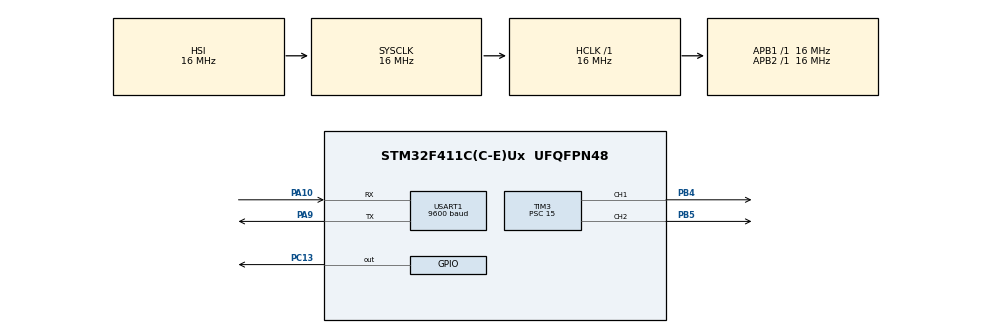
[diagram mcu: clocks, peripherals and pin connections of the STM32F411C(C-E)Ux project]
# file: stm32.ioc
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Mcu.Family=STM32F4
Mcu.Name=STM32F411C(C-E)Ux
Mcu.Package=UFQFPN48
NVIC.PriorityGroup=NVIC_PRIORITYGROUP_4
PA10.Mode=Asynchronous
PA10.Signal=USART1_RX
PA13.Mode=Serial_Wire
PA13.Signal=SYS_JTMS-SWDIO
PA14.Mode=Serial_Wire
PA14.Signal=SYS_JTCK-SWCLK
PA9.Mode=Asynchronous
PA9.Signal=USART1_TX
PB4.Signal=S_TIM3_CH1
PB5.Signal=S_TIM3_CH2
PC13-ANTI_TAMP.Signal=GPIO_Output
ProjectManager.HeapSize=0x200
ProjectManager.StackSize=0x400
ProjectManager.TargetToolchain=STM32CubeIDE
RCC.AHBFreq_Value=16000000
RCC.APB1Freq_Value=16000000
RCC.APB2Freq_Value=16000000
RCC.CortexFreq_Value=16000000
RCC.HSE_VALUE=25000000
RCC.HSI_VALUE=16000000
RCC.LSE_VALUE=32768
RCC.SYSCLKFreq_VALUE=16000000
RCC.VCOOutputFreq_Value=192000000
SH.S_TIM3_CH1.0=TIM3_CH1,PWM Generation1 CH1
SH.S_TIM3_CH2.0=TIM3_CH2,PWM Generation2 CH2
TIM3.Channel-PWM\ Generation1\ CH1=TIM_CHANNEL_1
TIM3.Channel-PWM\ Generation2\ CH2=TIM_CHANNEL_2
TIM3.Period=19999
TIM3.Prescaler=15
TIM3.Pulse-PWM\ Generation1\ CH1=1500
USART1.BaudRate=9600
USART1.VirtualMode=VM_ASYNC
VP_TIM3_VS_ClockSourceINT.Mode=Internal
board=custom

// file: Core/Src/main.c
/* USER CODE BEGIN Header */
/**
  ******************************************************************************
  * @file           : main.c
  * @brief          : Main program body
  ******************************************************************************
  * @attention
  *
  * Copyright (c) 2026 STMicroelectronics.
  * All rights reserved.
  *
  * This software is licensed under terms that can be found in the LICENSE file
  * in the root directory of this software component.
  * If no LICENSE file comes with this software, it is provided AS-IS.
  *
  ******************************************************************************
  */
/* USER CODE END Header */
#include "main.h"

/* USER CODE BEGIN Includes */
#include <stdio.h>
#include "frame_rx.h"
#include "servo.h"
/* USER CODE END Includes */

/* USER CODE BEGIN PD */
#define MAX_PWM 2000
#define MIN_PWM 1000
/* USER CODE END PD */

TIM_HandleTypeDef htim3;

UART_HandleTypeDef huart1;

/* USER CODE BEGIN PV */
ForwardFrame f;

uint32_t valid_frame_count = 0;

volatile uint32_t servo_pan = 1500;
volatile uint32_t servo_tilt = 1500;
/* USER CODE END PV */

void SystemClock_Config(void);
static void MX_GPIO_Init(void);
static void MX_USART1_UART_Init(void);
static void MX_TIM3_Init(void);

/* USER CODE BEGIN 0 */
bool clamp_limits (uint32_t servo_command) {
	if (servo_command < MAX_PWM && servo_command > MIN_PWM) {
		return true;
	}
	return false;
}
/* USER CODE END 0 */

int main(void)
{

  /* USER CODE BEGIN 1 */
	uint8_t byte;
	uint32_t count = 0;
  /* USER CODE END 1 */

  /* MCU Configuration--------------------------------------------------------*/

  /* Reset of all peripherals, Initializes the Flash interface and the Systick. */
  HAL_Init();

  /* Configure the system clock */
  SystemClock_Config();

  /* Initialize all configured peripherals */
  MX_GPIO_Init();
  MX_USART1_UART_Init();
  MX_TIM3_Init();
  /* USER CODE BEGIN 2 */
  HAL_TIM_PWM_Start(&htim3, TIM_CHANNEL_1);
  HAL_TIM_PWM_Start(&htim3, TIM_CHANNEL_2);

  /* USER CODE END 2 */

  /* Infinite loop */
  while (1)
  {

    /* USER CODE BEGIN 3 */
	  if (HAL_UART_Receive(&huart1, &byte, 1, 100) == HAL_OK) {
	      if (parse_rx_byte(byte,&f)) {
	    	  valid_frame_count++;
	    	  count++;
	    	  if (count == 25) {
	    		  HAL_GPIO_TogglePin(GPIOC, GPIO_PIN_13);
	    	  	  count = 0;
	    	  }
	    	  servo_pan = pan_to_pulsewidth(f.pan);
	    	  servo_tilt = tilt_to_pulsewidth(f.tilt);
	      }

	  }
	  __HAL_TIM_SET_COMPARE(&htim3, TIM_CHANNEL_1, servo_pan);
	  __HAL_TIM_SET_COMPARE(&htim3, TIM_CHANNEL_2, servo_tilt);

  }
  /* USER CODE END 3 */
}

void SystemClock_Config(void)
{
  RCC_OscInitTypeDef RCC_OscInitStruct = {0};
  RCC_ClkInitTypeDef RCC_ClkInitStruct = {0};

  /** Configure the main internal regulator output voltage
  */
  __HAL_RCC_PWR_CLK_ENABLE();
  __HAL_PWR_VOLTAGESCALING_CONFIG(PWR_REGULATOR_VOLTAGE_SCALE1);

  /** Initializes the RCC Oscillators according to the specified parameters
  * in the RCC_OscInitTypeDef structure.
  */
  RCC_OscInitStruct.OscillatorType = RCC_OSCILLATORTYPE_HSI;
  RCC_OscInitStruct.HSIState = RCC_HSI_ON;
  RCC_OscInitStruct.HSICalibrationValue = RCC_HSICALIBRATION_DEFAULT;
  RCC_OscInitStruct.PLL.PLLState = RCC_PLL_NONE;
  if (HAL_RCC_OscConfig(&RCC_OscInitStruct) != HAL_OK)
  {
    Error_Handler();
  }

  /** Initializes the CPU, AHB and APB buses clocks
  */
  RCC_ClkInitStruct.ClockType = RCC_CLOCKTYPE_HCLK|RCC_CLOCKTYPE_SYSCLK
                              |RCC_CLOCKTYPE_PCLK1|RCC_CLOCKTYPE_PCLK2;
  RCC_ClkInitStruct.SYSCLKSource = RCC_SYSCLKSOURCE_HSI;
  RCC_ClkInitStruct.AHBCLKDivider = RCC_SYSCLK_DIV1;
  RCC_ClkInitStruct.APB1CLKDivider = RCC_HCLK_DIV1;
  RCC_ClkInitStruct.APB2CLKDivider = RCC_HCLK_DIV1;

  if (HAL_RCC_ClockConfig(&RCC_ClkInitStruct, FLASH_LATENCY_0) != HAL_OK)
  {
    Error_Handler();
  }
}

static void MX_TIM3_Init(void)
{

  TIM_ClockConfigTypeDef sClockSourceConfig = {0};
  TIM_MasterConfigTypeDef sMasterConfig = {0};
  TIM_OC_InitTypeDef sConfigOC = {0};

  htim3.Instance = TIM3;
  htim3.Init.Prescaler = 15;
  htim3.Init.CounterMode = TIM_COUNTERMODE_UP;
  htim3.Init.Period = 19999;
  htim3.Init.ClockDivision = TIM_CLOCKDIVISION_DIV1;
  htim3.Init.AutoReloadPreload = TIM_AUTORELOAD_PRELOAD_DISABLE;
  if (HAL_TIM_Base_Init(&htim3) != HAL_OK)
  {
    Error_Handler();
  }
  sClockSourceConfig.ClockSource = TIM_CLOCKSOURCE_INTERNAL;
  if (HAL_TIM_ConfigClockSource(&htim3, &sClockSourceConfig) != HAL_OK)
  {
    Error_Handler();
  }
  if (HAL_TIM_PWM_Init(&htim3) != HAL_OK)
  {
    Error_Handler();
  }
  sMasterConfig.MasterOutputTrigger = TIM_TRGO_RESET;
  sMasterConfig.MasterSlaveMode = TIM_MASTERSLAVEMODE_DISABLE;
  if (HAL_TIMEx_MasterConfigSynchronization(&htim3, &sMasterConfig) != HAL_OK)
  {
    Error_Handler();
  }
  sConfigOC.OCMode = TIM_OCMODE_PWM1;
  sConfigOC.Pulse = 1500;
  sConfigOC.OCPolarity = TIM_OCPOLARITY_HIGH;
  sConfigOC.OCFastMode = TIM_OCFAST_DISABLE;
  if (HAL_TIM_PWM_ConfigChannel(&htim3, &sConfigOC, TIM_CHANNEL_1) != HAL_OK)
  {
    Error_Handler();
  }
  sConfigOC.Pulse = 0;
  if (HAL_TIM_PWM_ConfigChannel(&htim3, &sConfigOC, TIM_CHANNEL_2) != HAL_OK)
  {
    Error_Handler();
  }
  HAL_TIM_MspPostInit(&htim3);

}

static void MX_USART1_UART_Init(void)
{

  huart1.Instance = USART1;
  huart1.Init.BaudRate = 9600;
  huart1.Init.WordLength = UART_WORDLENGTH_8B;
  huart1.Init.StopBits = UART_STOPBITS_1;
  huart1.Init.Parity = UART_PARITY_NONE;
  huart1.Init.Mode = UART_MODE_TX_RX;
  huart1.Init.HwFlowCtl = UART_HWCONTROL_NONE;
  huart1.Init.OverSampling = UART_OVERSAMPLING_16;
  if (HAL_UART_Init(&huart1) != HAL_OK)
  {
    Error_Handler();
  }

}

static void MX_GPIO_Init(void)
{
  GPIO_InitTypeDef GPIO_InitStruct = {0};

  /* GPIO Ports Clock Enable */
  __HAL_RCC_GPIOC_CLK_ENABLE();
  __HAL_RCC_GPIOA_CLK_ENABLE();
  __HAL_RCC_GPIOB_CLK_ENABLE();

  /*Configure GPIO pin Output Level */
  HAL_GPIO_WritePin(GPIOC, GPIO_PIN_13, GPIO_PIN_RESET);

  /*Configure GPIO pin : PC13 */
  GPIO_InitStruct.Pin = GPIO_PIN_13;
  GPIO_InitStruct.Mode = GPIO_MODE_OUTPUT_PP;
  GPIO_InitStruct.Pull = GPIO_NOPULL;
  GPIO_InitStruct.Speed = GPIO_SPEED_FREQ_LOW;
  HAL_GPIO_Init(GPIOC, &GPIO_InitStruct);

}

void Error_Handler(void)
{
  __disable_irq();
  while (1)
  {
  }
}
